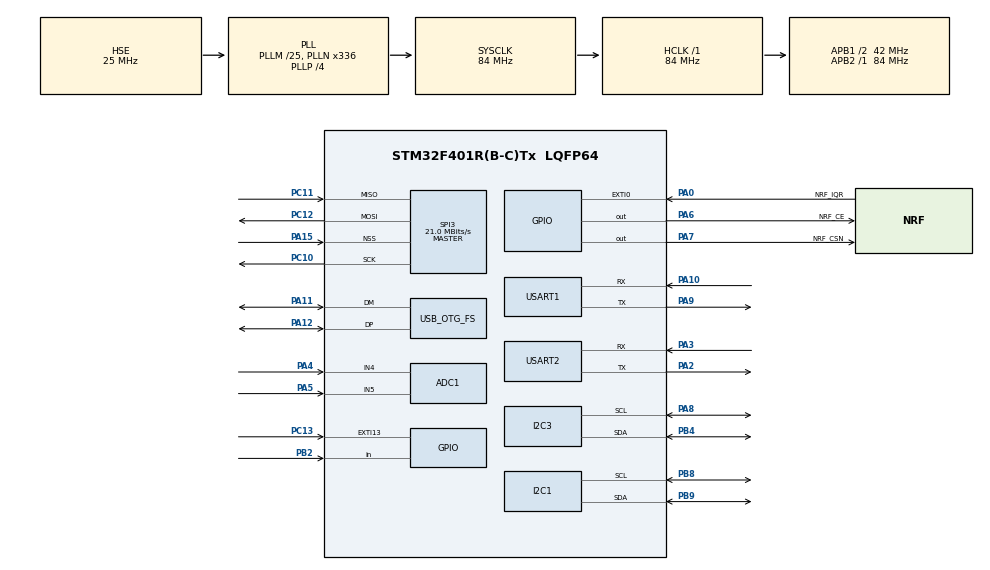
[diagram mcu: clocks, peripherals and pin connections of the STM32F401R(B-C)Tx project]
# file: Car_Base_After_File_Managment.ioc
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ADC1.Channel-0\#ChannelRegularConversion=ADC_CHANNEL_4
ADC1.NbrOfConversionFlag=1
ADC1.Rank-0\#ChannelRegularConversion=1
ADC1.SamplingTime-0\#ChannelRegularConversion=ADC_SAMPLETIME_3CYCLES
ADC1.master=1
I2C3.I2C_Mode=I2C_Fast
Mcu.Family=STM32F4
Mcu.Name=STM32F401R(B-C)Tx
Mcu.Package=LQFP64
NVIC.I2C1_ER_IRQn=true\:0\:0\:false\:false\:true\:true\:true\:true
NVIC.I2C1_EV_IRQn=true\:0\:0\:false\:false\:true\:true\:true\:true
NVIC.OTG_FS_IRQn=true\:0\:0\:false\:false\:true\:false\:true\:true
NVIC.PriorityGroup=NVIC_PRIORITYGROUP_4
PA0-WKUP.GPIO_Label=NRF_IQR
PA0-WKUP.GPIO_ModeDefaultEXTI=GPIO_MODE_IT_FALLING
PA0-WKUP.Signal=GPXTI0
PA10.Mode=Asynchronous
PA10.Signal=USART1_RX
PA11.Mode=Device_Only
PA11.Signal=USB_OTG_FS_DM
PA12.Mode=Device_Only
PA12.Signal=USB_OTG_FS_DP
PA13.Mode=Serial_Wire
PA13.Signal=SYS_JTMS-SWDIO
PA14.Mode=Serial_Wire
PA14.Signal=SYS_JTCK-SWCLK
PA15.Mode=NSS_Signal_Hard_Input
PA15.Signal=SPI3_NSS
PA2.Mode=Asynchronous
PA2.Signal=USART2_TX
PA3.Mode=Asynchronous
PA3.Signal=USART2_RX
PA4.Signal=ADCx_IN4
PA5.Signal=ADCx_IN5
PA6.GPIO_Label=NRF_CE
PA6.GPIO_Speed=GPIO_SPEED_FREQ_HIGH
PA6.Signal=GPIO_Output
PA7.GPIO_Label=NRF_CSN
PA7.GPIO_Speed=GPIO_SPEED_FREQ_HIGH
PA7.Signal=GPIO_Output
PA8.Mode=I2C
PA8.Signal=I2C3_SCL
PA9.Mode=Asynchronous
PA9.Signal=USART1_TX
PB10.Signal=I2C2_SCL
PB12.Signal=SPI2_NSS
PB13.Signal=SPI2_SCK
PB14.Signal=SPI2_MISO
PB15.Signal=SPI2_MOSI
PB2.Signal=GPIO_Input
PB3.Signal=I2C2_SDA
PB4.Mode=I2C
PB4.Signal=I2C3_SDA
PB8.Mode=I2C
PB8.Signal=I2C1_SCL
PB9.Mode=I2C
PB9.Signal=I2C1_SDA
PC10.Mode=Full_Duplex_Master
PC10.Signal=SPI3_SCK
PC11.Mode=Full_Duplex_Master
PC11.Signal=SPI3_MISO
PC12.Mode=Full_Duplex_Master
PC12.Signal=SPI3_MOSI
PC13-ANTI_TAMP.Signal=GPXTI13
PH0\ -\ OSC_IN.Mode=HSE-External-Oscillator
PH0\ -\ OSC_IN.Signal=RCC_OSC_IN
PH1\ -\ OSC_OUT.Mode=HSE-External-Oscillator
PH1\ -\ OSC_OUT.Signal=RCC_OSC_OUT
ProjectManager.HeapSize=0x200
ProjectManager.StackSize=0x400
ProjectManager.TargetToolchain=STM32CubeIDE
RCC.48MHZClocksFreq_Value=48000000
RCC.AHBFreq_Value=84000000
RCC.APB1CLKDivider=RCC_HCLK_DIV2
RCC.APB1Freq_Value=42000000
RCC.APB1TimFreq_Value=84000000
RCC.APB2Freq_Value=84000000
RCC.APB2TimFreq_Value=84000000
RCC.CortexFreq_Value=84000000
RCC.HCLKFreq_Value=84000000
RCC.HSE_VALUE=25000000
RCC.HSI_VALUE=16000000
RCC.LSE_VALUE=32768
RCC.PLLM=25
RCC.PLLN=336
RCC.PLLP=RCC_PLLP_DIV4
RCC.PLLQ=7
RCC.SYSCLKFreq_VALUE=84000000
RCC.SYSCLKSource=RCC_SYSCLKSOURCE_PLLCLK
RCC.VCOOutputFreq_Value=336000000
SH.ADCx_IN4.0=ADC1_IN4,IN4
SH.ADCx_IN5.0=ADC1_IN5,IN5
SPI3.CalculateBaudRate=21.0 MBits/s
SPI3.Direction=SPI_DIRECTION_2LINES
SPI3.Mode=SPI_MODE_MASTER
SPI3.VirtualNSS=VM_NSSHARD
SPI3.VirtualType=VM_MASTER
TIM1.Prescaler=83
USART1.VirtualMode=VM_ASYNC
USART2.VirtualMode=VM_ASYNC
USB_DEVICE.CLASS_NAME_FS=CDC
USB_DEVICE.VirtualMode=Cdc
USB_DEVICE.VirtualModeFS=Cdc_FS
USB_OTG_FS.VirtualMode=Device_Only
VP_TIM1_VS_ClockSourceINT.Mode=Internal
VP_USB_DEVICE_VS_USB_DEVICE_CDC_FS.Mode=CDC_FS
board=custom

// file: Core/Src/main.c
/* USER CODE BEGIN Header */
/**
  ******************************************************************************
  * @file           : main.c
  * @brief          : Main program body
  ******************************************************************************
  */
/* USER CODE END Header */
#include "main.h"
#include "usb_device.h"

/* USER CODE BEGIN Includes */
#include "comm_parser.h"
#include "sensor_sys.h"
#include "chassis_control.h"
#include "telemetry.h"
#include "usbd_cdc_if.h"
/* USER CODE END Includes */

/* USER CODE BEGIN PD */

/* ── Heartbeat Configuration ── */
#define HEARTBEAT_INTERVAL_MS   3000U   /* Change this to adjust heartbeat rate */
#define HEARTBEAT_CHAR          'Z'     /* Character sent to Pi */

/* USER CODE END PD */

ADC_HandleTypeDef hadc1;

I2C_HandleTypeDef hi2c1;
I2C_HandleTypeDef hi2c3;

SPI_HandleTypeDef hspi3;

TIM_HandleTypeDef htim1;

UART_HandleTypeDef huart1;
UART_HandleTypeDef huart2;

/* USER CODE BEGIN PV */
static uint32_t last_heartbeat_tick = 0U;
/* USER CODE END PV */

void SystemClock_Config(void);
static void MX_GPIO_Init(void);
static void MX_ADC1_Init(void);
static void MX_I2C1_Init(void);
static void MX_USART1_UART_Init(void);
static void MX_USART2_UART_Init(void);
static void MX_SPI3_Init(void);
static void MX_TIM1_Init(void);
static void MX_I2C3_Init(void);

/* USER CODE BEGIN PFP */
static void App_SendHeartbeat(void);
/* USER CODE END PFP */

/* USER CODE BEGIN 0 */
static void App_SendHeartbeat(void)
{
    uint8_t hb = HEARTBEAT_CHAR;
    CDC_Transmit_FS(&hb, 1U);
}
/* USER CODE END 0 */

int main(void)
{

  /* MCU Configuration--------------------------------------------------------*/

  /* Reset of all peripherals, Initializes the Flash interface and the Systick. */
  HAL_Init();

  /* Configure the system clock */
  SystemClock_Config();

  /* Initialize all configured peripherals */
  MX_GPIO_Init();
  MX_ADC1_Init();
  MX_I2C1_Init();
  MX_USART1_UART_Init();
  MX_USART2_UART_Init();
  MX_USB_DEVICE_Init();
  MX_SPI3_Init();
  MX_TIM1_Init();
  MX_I2C3_Init();

  /* USER CODE BEGIN 2 */

      /* I2C1 GPIO remap (Keep this exactly as it was for the motor driver) */
      GPIO_InitTypeDef GPIO_InitStruct = {0};
      __HAL_RCC_GPIOB_CLK_ENABLE();
      GPIO_InitStruct.Pin       = GPIO_PIN_8 | GPIO_PIN_9;
      GPIO_InitStruct.Mode      = GPIO_MODE_AF_OD;
      GPIO_InitStruct.Pull      = GPIO_PULLUP;
      GPIO_InitStruct.Speed     = GPIO_SPEED_FREQ_VERY_HIGH;
      GPIO_InitStruct.Alternate = GPIO_AF4_I2C1;
      HAL_GPIO_Init(GPIOB, &GPIO_InitStruct);

      HAL_Delay(3000);   /* Wait for USB CDC to enumerate */
      USB_Print("\r\n=== SYSTEM BOOTING ===\r\n");
      USB_Print("\r\n=== File_Managed_Code ===\r\n");

      // Initialize your brand new clean modules
        Chassis_Init(&hi2c1);
        SensorSys_Init(&hi2c3);

        last_heartbeat_tick = HAL_GetTick();  // <-- Add this to initialize the timer
    /* USER CODE END 2 */

        /* Infinite loop */
          /* USER CODE BEGIN WHILE */
          while (1)
          {
              Chassis_UpdateTick();       // Handles 20ms PID updates and Watchdog
              Chassis_ProcessCommands();  // Handles USB strings and Pi packets
              Telemetry_UpdateTick();     // Handles the 500ms sensor read and printout

              /* <-- Add Heartbeat Logic Here --> */
                  if ((HAL_GetTick() - last_heartbeat_tick) >= HEARTBEAT_INTERVAL_MS)
                  {
                      last_heartbeat_tick = HAL_GetTick();
                      App_SendHeartbeat();
                  }
          /* USER CODE END WHILE */
          }
}

void SystemClock_Config(void)
{
  RCC_OscInitTypeDef RCC_OscInitStruct = {0};
  RCC_ClkInitTypeDef RCC_ClkInitStruct = {0};

  /** Configure the main internal regulator output voltage
  */
  __HAL_RCC_PWR_CLK_ENABLE();
  __HAL_PWR_VOLTAGESCALING_CONFIG(PWR_REGULATOR_VOLTAGE_SCALE2);

  /** Initializes the RCC Oscillators according to the specified parameters
  * in the RCC_OscInitTypeDef structure.
  */
  RCC_OscInitStruct.OscillatorType = RCC_OSCILLATORTYPE_HSE;
  RCC_OscInitStruct.HSEState = RCC_HSE_ON;
  RCC_OscInitStruct.PLL.PLLState = RCC_PLL_ON;
  RCC_OscInitStruct.PLL.PLLSource = RCC_PLLSOURCE_HSE;
  RCC_OscInitStruct.PLL.PLLM = 25;
  RCC_OscInitStruct.PLL.PLLN = 336;
  RCC_OscInitStruct.PLL.PLLP = RCC_PLLP_DIV4;
  RCC_OscInitStruct.PLL.PLLQ = 7;
  if (HAL_RCC_OscConfig(&RCC_OscInitStruct) != HAL_OK)
  {
    Error_Handler();
  }

  /** Initializes the CPU, AHB and APB buses clocks
  */
  RCC_ClkInitStruct.ClockType = RCC_CLOCKTYPE_HCLK|RCC_CLOCKTYPE_SYSCLK
                              |RCC_CLOCKTYPE_PCLK1|RCC_CLOCKTYPE_PCLK2;
  RCC_ClkInitStruct.SYSCLKSource = RCC_SYSCLKSOURCE_PLLCLK;
  RCC_ClkInitStruct.AHBCLKDivider = RCC_SYSCLK_DIV1;
  RCC_ClkInitStruct.APB1CLKDivider = RCC_HCLK_DIV2;
  RCC_ClkInitStruct.APB2CLKDivider = RCC_HCLK_DIV1;

  if (HAL_RCC_ClockConfig(&RCC_ClkInitStruct, FLASH_LATENCY_2) != HAL_OK)
  {
    Error_Handler();
  }
}

static void MX_ADC1_Init(void)
{

  ADC_ChannelConfTypeDef sConfig = {0};

  /** Configure the global features of the ADC (Clock, Resolution, Data Alignment and number of conversion)
  */
  hadc1.Instance = ADC1;
  hadc1.Init.ClockPrescaler = ADC_CLOCK_SYNC_PCLK_DIV4;
  hadc1.Init.Resolution = ADC_RESOLUTION_12B;
  hadc1.Init.ScanConvMode = DISABLE;
  hadc1.Init.ContinuousConvMode = DISABLE;
  hadc1.Init.DiscontinuousConvMode = DISABLE;
  hadc1.Init.ExternalTrigConvEdge = ADC_EXTERNALTRIGCONVEDGE_NONE;
  hadc1.Init.ExternalTrigConv = ADC_SOFTWARE_START;
  hadc1.Init.DataAlign = ADC_DATAALIGN_RIGHT;
  hadc1.Init.NbrOfConversion = 1;
  hadc1.Init.DMAContinuousRequests = DISABLE;
  hadc1.Init.EOCSelection = ADC_EOC_SINGLE_CONV;
  if (HAL_ADC_Init(&hadc1) != HAL_OK)
  {
    Error_Handler();
  }

  /** Configure for the selected ADC regular channel its corresponding rank in the sequencer and its sample time.
  */
  sConfig.Channel = ADC_CHANNEL_4;
  sConfig.Rank = 1;
  sConfig.SamplingTime = ADC_SAMPLETIME_3CYCLES;
  if (HAL_ADC_ConfigChannel(&hadc1, &sConfig) != HAL_OK)
  {
    Error_Handler();
  }

}

static void MX_I2C1_Init(void)
{

  hi2c1.Instance = I2C1;
  hi2c1.Init.ClockSpeed = 100000;
  hi2c1.Init.DutyCycle = I2C_DUTYCYCLE_2;
  hi2c1.Init.OwnAddress1 = 0;
  hi2c1.Init.AddressingMode = I2C_ADDRESSINGMODE_7BIT;
  hi2c1.Init.DualAddressMode = I2C_DUALADDRESS_DISABLE;
  hi2c1.Init.OwnAddress2 = 0;
  hi2c1.Init.GeneralCallMode = I2C_GENERALCALL_DISABLE;
  hi2c1.Init.NoStretchMode = I2C_NOSTRETCH_DISABLE;
  if (HAL_I2C_Init(&hi2c1) != HAL_OK)
  {
    Error_Handler();
  }

}

static void MX_I2C3_Init(void)
{

  hi2c3.Instance = I2C3;
  hi2c3.Init.ClockSpeed = 400000;
  hi2c3.Init.DutyCycle = I2C_DUTYCYCLE_2;
  hi2c3.Init.OwnAddress1 = 0;
  hi2c3.Init.AddressingMode = I2C_ADDRESSINGMODE_7BIT;
  hi2c3.Init.DualAddressMode = I2C_DUALADDRESS_DISABLE;
  hi2c3.Init.OwnAddress2 = 0;
  hi2c3.Init.GeneralCallMode = I2C_GENERALCALL_DISABLE;
  hi2c3.Init.NoStretchMode = I2C_NOSTRETCH_DISABLE;
  if (HAL_I2C_Init(&hi2c3) != HAL_OK)
  {
    Error_Handler();
  }

}

static void MX_SPI3_Init(void)
{

  /* SPI3 parameter configuration*/
  hspi3.Instance = SPI3;
  hspi3.Init.Mode = SPI_MODE_MASTER;
  hspi3.Init.Direction = SPI_DIRECTION_2LINES;
  hspi3.Init.DataSize = SPI_DATASIZE_8BIT;
  hspi3.Init.CLKPolarity = SPI_POLARITY_LOW;
  hspi3.Init.CLKPhase = SPI_PHASE_1EDGE;
  hspi3.Init.NSS = SPI_NSS_HARD_INPUT;
  hspi3.Init.BaudRatePrescaler = SPI_BAUDRATEPRESCALER_2;
  hspi3.Init.FirstBit = SPI_FIRSTBIT_MSB;
  hspi3.Init.TIMode = SPI_TIMODE_DISABLE;
  hspi3.Init.CRCCalculation = SPI_CRCCALCULATION_DISABLE;
  hspi3.Init.CRCPolynomial = 10;
  if (HAL_SPI_Init(&hspi3) != HAL_OK)
  {
    Error_Handler();
  }

}

static void MX_TIM1_Init(void)
{

  TIM_ClockConfigTypeDef sClockSourceConfig = {0};
  TIM_MasterConfigTypeDef sMasterConfig = {0};

  htim1.Instance = TIM1;
  htim1.Init.Prescaler = 83;
  htim1.Init.CounterMode = TIM_COUNTERMODE_UP;
  htim1.Init.Period = 65535;
  htim1.Init.ClockDivision = TIM_CLOCKDIVISION_DIV1;
  htim1.Init.RepetitionCounter = 0;
  htim1.Init.AutoReloadPreload = TIM_AUTORELOAD_PRELOAD_DISABLE;
  if (HAL_TIM_Base_Init(&htim1) != HAL_OK)
  {
    Error_Handler();
  }
  sClockSourceConfig.ClockSource = TIM_CLOCKSOURCE_INTERNAL;
  if (HAL_TIM_ConfigClockSource(&htim1, &sClockSourceConfig) != HAL_OK)
  {
    Error_Handler();
  }
  sMasterConfig.MasterOutputTrigger = TIM_TRGO_RESET;
  sMasterConfig.MasterSlaveMode = TIM_MASTERSLAVEMODE_DISABLE;
  if (HAL_TIMEx_MasterConfigSynchronization(&htim1, &sMasterConfig) != HAL_OK)
  {
    Error_Handler();
  }

}

static void MX_USART1_UART_Init(void)
{

  huart1.Instance = USART1;
  huart1.Init.BaudRate = 115200;
  huart1.Init.WordLength = UART_WORDLENGTH_8B;
  huart1.Init.StopBits = UART_STOPBITS_1;
  huart1.Init.Parity = UART_PARITY_NONE;
  huart1.Init.Mode = UART_MODE_TX_RX;
  huart1.Init.HwFlowCtl = UART_HWCONTROL_NONE;
  huart1.Init.OverSampling = UART_OVERSAMPLING_16;
  if (HAL_UART_Init(&huart1) != HAL_OK)
  {
    Error_Handler();
  }

}

static void MX_USART2_UART_Init(void)
{

  huart2.Instance = USART2;
  huart2.Init.BaudRate = 115200;
  huart2.Init.WordLength = UART_WORDLENGTH_8B;
  huart2.Init.StopBits = UART_STOPBITS_1;
  huart2.Init.Parity = UART_PARITY_NONE;
  huart2.Init.Mode = UART_MODE_TX_RX;
  huart2.Init.HwFlowCtl = UART_HWCONTROL_NONE;
  huart2.Init.OverSampling = UART_OVERSAMPLING_16;
  if (HAL_UART_Init(&huart2) != HAL_OK)
  {
    Error_Handler();
  }

}

static void MX_GPIO_Init(void)
{
  GPIO_InitTypeDef GPIO_InitStruct = {0};

  /* GPIO Ports Clock Enable */
  __HAL_RCC_GPIOC_CLK_ENABLE();
  __HAL_RCC_GPIOH_CLK_ENABLE();
  __HAL_RCC_GPIOA_CLK_ENABLE();
  __HAL_RCC_GPIOB_CLK_ENABLE();

  /*Configure GPIO pin Output Level */
  HAL_GPIO_WritePin(GPIOA, NRF_CE_Pin|NRF_CSN_Pin, GPIO_PIN_RESET);

  /*Configure GPIO pin : PC13 */
  GPIO_InitStruct.Pin = GPIO_PIN_13;
  GPIO_InitStruct.Mode = GPIO_MODE_IT_RISING;
  GPIO_InitStruct.Pull = GPIO_NOPULL;
  HAL_GPIO_Init(GPIOC, &GPIO_InitStruct);

  /*Configure GPIO pin : NRF_IQR_Pin */
  GPIO_InitStruct.Pin = NRF_IQR_Pin;
  GPIO_InitStruct.Mode = GPIO_MODE_IT_FALLING;
  GPIO_InitStruct.Pull = GPIO_NOPULL;
  HAL_GPIO_Init(NRF_IQR_GPIO_Port, &GPIO_InitStruct);

  /*Configure GPIO pins : NRF_CE_Pin NRF_CSN_Pin */
  GPIO_InitStruct.Pin = NRF_CE_Pin|NRF_CSN_Pin;
  GPIO_InitStruct.Mode = GPIO_MODE_OUTPUT_PP;
  GPIO_InitStruct.Pull = GPIO_NOPULL;
  GPIO_InitStruct.Speed = GPIO_SPEED_FREQ_HIGH;
  HAL_GPIO_Init(GPIOA, &GPIO_InitStruct);

  /*Configure GPIO pin : PB2 */
  GPIO_InitStruct.Pin = GPIO_PIN_2;
  GPIO_InitStruct.Mode = GPIO_MODE_INPUT;
  GPIO_InitStruct.Pull = GPIO_NOPULL;
  HAL_GPIO_Init(GPIOB, &GPIO_InitStruct);

  /*Configure GPIO pin : PB10 */
  GPIO_InitStruct.Pin = GPIO_PIN_10;
  GPIO_InitStruct.Mode = GPIO_MODE_AF_OD;
  GPIO_InitStruct.Pull = GPIO_NOPULL;
  GPIO_InitStruct.Speed = GPIO_SPEED_FREQ_VERY_HIGH;
  GPIO_InitStruct.Alternate = GPIO_AF4_I2C2;
  HAL_GPIO_Init(GPIOB, &GPIO_InitStruct);

  /*Configure GPIO pins : PB12 PB13 PB14 PB15 */
  GPIO_InitStruct.Pin = GPIO_PIN_12|GPIO_PIN_13|GPIO_PIN_14|GPIO_PIN_15;
  GPIO_InitStruct.Mode = GPIO_MODE_AF_PP;
  GPIO_InitStruct.Pull = GPIO_NOPULL;
  GPIO_InitStruct.Speed = GPIO_SPEED_FREQ_VERY_HIGH;
  GPIO_InitStruct.Alternate = GPIO_AF5_SPI2;
  HAL_GPIO_Init(GPIOB, &GPIO_InitStruct);

  /*Configure GPIO pin : PB3 */
  GPIO_InitStruct.Pin = GPIO_PIN_3;
  GPIO_InitStruct.Mode = GPIO_MODE_AF_OD;
  GPIO_InitStruct.Pull = GPIO_NOPULL;
  GPIO_InitStruct.Speed = GPIO_SPEED_FREQ_VERY_HIGH;
  GPIO_InitStruct.Alternate = GPIO_AF9_I2C2;
  HAL_GPIO_Init(GPIOB, &GPIO_InitStruct);

}

void Error_Handler(void)
{
  __disable_irq();
  while (1)
  {
  }
}
